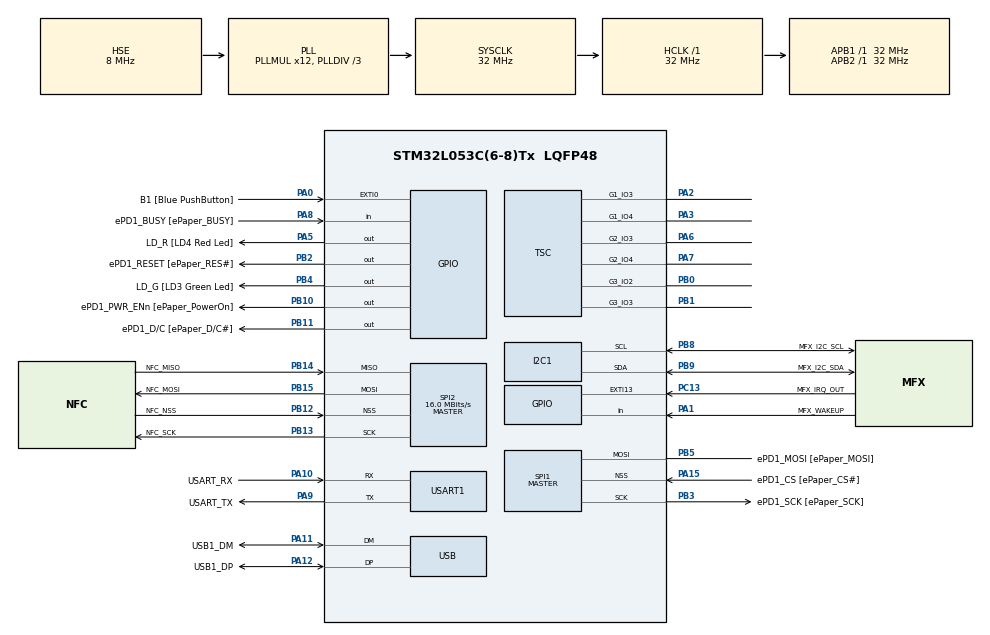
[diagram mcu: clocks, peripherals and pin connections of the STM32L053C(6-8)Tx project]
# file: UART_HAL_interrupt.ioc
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Mcu.Family=STM32L0
Mcu.Name=STM32L053C(6-8)Tx
Mcu.Package=LQFP48
NVIC.USART1_IRQn=true\:0\:0\:false\:false\:true\:true\:true\:true
PA0.GPIO_Label=B1 [Blue PushButton]
PA0.GPIO_ModeDefaultEXTI=GPIO_MODE_EVT_RISING
PA0.GPIO_PuPd=GPIO_NOPULL
PA0.Signal=GPXTI0
PA1.GPIO_Label=MFX_WAKEUP
PA1.Signal=GPIO_Input
PA10.GPIO_Label=USART_RX
PA10.Mode=Asynchronous
PA10.Signal=USART1_RX
PA11.GPIO_Label=USB1_DM
PA11.Mode=Device
PA11.Signal=USB_DM
PA12.GPIO_Label=USB1_DP
PA12.Mode=Device
PA12.Signal=USB_DP
PA13.GPIO_Label=SWDIO
PA13.Mode=Serial_Wire
PA13.Signal=SYS_SWDIO
PA14.GPIO_Label=SWCLK
PA14.Mode=Serial_Wire
PA14.Signal=SYS_SWCLK
PA15.GPIO_Label=ePD1_CS [ePaper_CS\#]
PA15.GPIO_Mode=GPIO_MODE_AF_PP
PA15.GPIO_PuPd=GPIO_NOPULL
PA15.GPIO_Speed=GPIO_SPEED_FREQ_LOW
PA15.Mode=NSS_Signal_Hard_Input
PA15.Signal=SPI1_NSS
PA2.Mode=G1_IO3-Channel
PA2.Signal=TSC_G1_IO3
PA3.Mode=G1_IO4-Sampling
PA3.Signal=TSC_G1_IO4
PA5.GPIO_Label=LD_R [LD4 Red Led]
PA5.GPIO_ModeDefaultOutputPP=GPIO_MODE_OUTPUT_PP
PA5.GPIO_PuPd=GPIO_NOPULL
PA5.GPIO_Speed=GPIO_SPEED_FREQ_LOW
PA5.Signal=GPIO_Output
PA6.Mode=G2_IO3-Channel
PA6.Signal=TSC_G2_IO3
PA7.Mode=G2_IO4-Sampling
PA7.Signal=TSC_G2_IO4
PA8.GPIO_Label=ePD1_BUSY [ePaper_BUSY]
PA8.GPIO_Mode=GPIO_MODE_INPUT
PA8.GPIO_PuPd=GPIO_NOPULL
PA8.Signal=GPIO_Input
PA9.GPIO_Label=USART_TX
PA9.Mode=Asynchronous
PA9.Signal=USART1_TX
PB0.Mode=G3_IO2-Channel
PB0.Signal=TSC_G3_IO2
PB1.Mode=G3_IO3-Sampling
PB1.Signal=TSC_G3_IO3
PB10.GPIO_Label=ePD1_PWR_ENn [ePaper_PowerOn]
PB10.GPIO_ModeDefaultOutputPP=GPIO_MODE_OUTPUT_PP
PB10.GPIO_PuPd=GPIO_NOPULL
PB10.GPIO_Speed=GPIO_SPEED_FREQ_LOW
PB10.Signal=GPIO_Output
PB11.GPIO_Label=ePD1_D/C [ePaper_D/C\#]
PB11.GPIO_ModeDefaultOutputPP=GPIO_MODE_OUTPUT_PP
PB11.GPIO_PuPd=GPIO_NOPULL
PB11.GPIO_Speed=GPIO_SPEED_FREQ_LOW
PB11.Signal=GPIO_Output
PB12.GPIO_Label=NFC_NSS
PB12.Mode=NSS_Signal_Hard_Input
PB12.Signal=SPI2_NSS
PB13.GPIO_Label=NFC_SCK
PB13.Mode=Full_Duplex_Master
PB13.Signal=SPI2_SCK
PB14.GPIO_Label=NFC_MISO
PB14.Mode=Full_Duplex_Master
PB14.Signal=SPI2_MISO
PB15.GPIO_Label=NFC_MOSI
PB15.Mode=Full_Duplex_Master
PB15.Signal=SPI2_MOSI
PB2.GPIO_Label=ePD1_RESET [ePaper_RES\#]
PB2.GPIO_ModeDefaultOutputPP=GPIO_MODE_OUTPUT_PP
PB2.GPIO_PuPd=GPIO_NOPULL
PB2.GPIO_Speed=GPIO_SPEED_FREQ_LOW
PB2.Signal=GPIO_Output
PB3.GPIO_Label=ePD1_SCK [ePaper_SCK]
PB3.GPIO_Mode=GPIO_MODE_AF_PP
PB3.GPIO_PuPd=GPIO_NOPULL
PB3.GPIO_Speed=GPIO_SPEED_FREQ_LOW
PB3.Mode=Simplex_Bidirectional_Master
PB3.Signal=SPI1_SCK
PB4.GPIO_Label=LD_G [LD3 Green Led]
PB4.GPIO_ModeDefaultOutputPP=GPIO_MODE_OUTPUT_PP
PB4.GPIO_PuPd=GPIO_NOPULL
PB4.GPIO_Speed=GPIO_SPEED_FREQ_LOW
PB4.Signal=GPIO_Output
PB5.GPIO_Label=ePD1_MOSI [ePaper_MOSI]
PB5.GPIO_Mode=GPIO_MODE_AF_PP
PB5.GPIO_PuPd=GPIO_NOPULL
PB5.GPIO_Speed=GPIO_SPEED_FREQ_LOW
PB5.Mode=Simplex_Bidirectional_Master
PB5.Signal=SPI1_MOSI
PB8.GPIO_Label=MFX_I2C_SCL
PB8.GPIO_Pu=GPIO_PULLUP
PB8.Mode=I2C
PB8.Signal=I2C1_SCL
PB9.GPIO_Label=MFX_I2C_SDA
PB9.GPIO_Pu=GPIO_PULLUP
PB9.Mode=I2C
PB9.Signal=I2C1_SDA
PC13.GPIO_Label=MFX_IRQ_OUT
PC13.Signal=GPXTI13
PC14-OSC32_IN.GPIO_Label=PC14-OSC32_IN
PC14-OSC32_IN.Signal=RCC_OSC32_IN
PC15-OSC32_OUT.GPIO_Label=PC15-OSC32_OUT
PC15-OSC32_OUT.Signal=RCC_OSC32_OUT
PH0-OSC_IN.GPIO_Label=MCO
PH0-OSC_IN.Mode=HSE-External-Clock-Source
PH0-OSC_IN.Signal=RCC_OSC_IN
ProjectManager.HeapSize=0x200
ProjectManager.StackSize=0x400
ProjectManager.TargetToolchain=STM32CubeIDE
RCC.AHBFreq_Value=32000000
RCC.APB1Freq_Value=32000000
RCC.APB1TimFreq_Value=32000000
RCC.APB2Freq_Value=32000000
RCC.APB2TimFreq_Value=32000000
RCC.HCLKFreq_Value=32000000
RCC.HSE_VALUE=8000000
RCC.HSI16_VALUE=16000000
RCC.HSI48MClockSelection=RCC_USBCLKSOURCE_HSI48
RCC.HSI48_VALUE=48000000
RCC.HSI_VALUE=16000000
RCC.LSE_VALUE=32768
RCC.MSI_VALUE=2097000
RCC.PLLDIV=RCC_PLLDIV_3
RCC.PLLMUL=RCC_PLLMUL_12
RCC.PLLSourceVirtual=RCC_PLLSOURCE_HSE
RCC.RTCClockSelectionVirtual=RCC_RTCCLKSOURCE_LSE
RCC.SYSCLKFreq_VALUE=32000000
RCC.SYSCLKSource=RCC_SYSCLKSOURCE_PLLCLK
RCC.VCOOutputFreq_Value=96000000
SPI1.CalculateBaudRate-Simplex_Bidirectional_Master=16.0 MBits/s
SPI1.Direction=SPI_DIRECTION_1LINE
SPI1.Direction-Simplex_Bidirectional_Master=SPI_DIRECTION_1LINE
SPI1.Mode=SPI_MODE_MASTER
SPI1.Mode-Simplex_Bidirectional_Master=SPI_MODE_MASTER
SPI1.NSS-Simplex_Bidirectional_Master=SPI_NSS_HARD_OUTPUT
SPI1.TIMode-Simplex_Bidirectional_Master=SPI_TIMODE_DISABLE
SPI1.VirtualNSS=VM_NSSHARD
SPI1.VirtualType=VM_MASTER
SPI2.CalculateBaudRate=16.0 MBits/s
SPI2.Direction=SPI_DIRECTION_2LINES
SPI2.Mode=SPI_MODE_MASTER
SPI2.VirtualNSS=VM_NSSHARD
SPI2.VirtualType=VM_MASTER
USART1.VirtualMode-Asynchronous=VM_ASYNC
board=STM32L0538-DISCO

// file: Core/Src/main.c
/* USER CODE BEGIN Header */
/**
 ******************************************************************************
 * @file           : main.c
 * @brief          : Main program body
 ******************************************************************************
 * @attention
 *
 * Copyright (c) 2025 STMicroelectronics.
 * All rights reserved.
 *
 * This software is licensed under terms that can be found in the LICENSE file
 * in the root directory of this software component.
 * If no LICENSE file comes with this software, it is provided AS-IS.
 *
 ******************************************************************************
 */
/* USER CODE END Header */
#include "main.h"
#include "i2c.h"
#include "spi.h"
#include "tsc.h"
#include "usart.h"
#include "usb.h"
#include "gpio.h"

void SystemClock_Config(void);

/* USER CODE BEGIN 0 */
////////////      PA9 PA10 loopback test
uint8_t rx_data;
uint8_t tx_data[] = "Loopback OK\r\n";
uint8_t rx_buffer[20];
uint8_t rx_index = 0;

void HAL_UART_RxCpltCallback(UART_HandleTypeDef *huart)
{
	if(huart->Instance == USART1)
	{
		rx_buffer[rx_index++] = rx_data;
		if(rx_data == '\n')
		{
			HAL_UART_Transmit(&huart1, rx_buffer, rx_index, HAL_MAX_DELAY);
			rx_index = 0;
		}
		HAL_UART_Receive_IT(&huart1, &rx_data, 1);
	}
}
/* USER CODE END 0 */

int main(void)
{

	/* MCU Configuration--------------------------------------------------------*/

	/* Reset of all peripherals, Initializes the Flash interface and the Systick. */
	HAL_Init();

	/* Configure the system clock */
	SystemClock_Config();

	/* Initialize all configured peripherals */
	MX_GPIO_Init();
	MX_I2C1_Init();
	MX_SPI1_Init();
	MX_SPI2_Init();
	MX_TSC_Init();
	MX_USART1_UART_Init();
	MX_USB_PCD_Init();
	/* USER CODE BEGIN 2 */
	HAL_UART_Receive_IT(&huart1, &rx_data, 1);
	HAL_UART_Transmit(&huart1, tx_data, sizeof(tx_data)-1, HAL_MAX_DELAY);
	/* USER CODE END 2 */

	/* Infinite loop */
	while (1)
	{

		/* USER CODE BEGIN 3 */

		uint8_t c = 'A';
		HAL_UART_Transmit(&huart1, &c, 1, HAL_MAX_DELAY);
		HAL_Delay(500);
	}
	/* USER CODE END 3 */
}

void SystemClock_Config(void)
{
	RCC_OscInitTypeDef RCC_OscInitStruct = {0};
	RCC_ClkInitTypeDef RCC_ClkInitStruct = {0};
	RCC_PeriphCLKInitTypeDef PeriphClkInit = {0};

	/** Configure the main internal regulator output voltage
	 */
	__HAL_PWR_VOLTAGESCALING_CONFIG(PWR_REGULATOR_VOLTAGE_SCALE1);

	/** Initializes the RCC Oscillators according to the specified parameters
	 * in the RCC_OscInitTypeDef structure.
	 */
	RCC_OscInitStruct.OscillatorType = RCC_OSCILLATORTYPE_HSE|RCC_OSCILLATORTYPE_HSI48;
	RCC_OscInitStruct.HSEState = RCC_HSE_BYPASS;
	RCC_OscInitStruct.HSI48State = RCC_HSI48_ON;
	RCC_OscInitStruct.PLL.PLLState = RCC_PLL_ON;
	RCC_OscInitStruct.PLL.PLLSource = RCC_PLLSOURCE_HSE;
	RCC_OscInitStruct.PLL.PLLMUL = RCC_PLLMUL_12;
	RCC_OscInitStruct.PLL.PLLDIV = RCC_PLLDIV_3;
	if (HAL_RCC_OscConfig(&RCC_OscInitStruct) != HAL_OK)
	{
		Error_Handler();
	}

	/** Initializes the CPU, AHB and APB buses clocks
	 */
	RCC_ClkInitStruct.ClockType = RCC_CLOCKTYPE_HCLK|RCC_CLOCKTYPE_SYSCLK
			|RCC_CLOCKTYPE_PCLK1|RCC_CLOCKTYPE_PCLK2;
	RCC_ClkInitStruct.SYSCLKSource = RCC_SYSCLKSOURCE_PLLCLK;
	RCC_ClkInitStruct.AHBCLKDivider = RCC_SYSCLK_DIV1;
	RCC_ClkInitStruct.APB1CLKDivider = RCC_HCLK_DIV1;
	RCC_ClkInitStruct.APB2CLKDivider = RCC_HCLK_DIV1;

	if (HAL_RCC_ClockConfig(&RCC_ClkInitStruct, FLASH_LATENCY_1) != HAL_OK)
	{
		Error_Handler();
	}
	PeriphClkInit.PeriphClockSelection = RCC_PERIPHCLK_USART1|RCC_PERIPHCLK_I2C1
			|RCC_PERIPHCLK_USB;
	PeriphClkInit.Usart1ClockSelection = RCC_USART1CLKSOURCE_PCLK2;
	PeriphClkInit.I2c1ClockSelection = RCC_I2C1CLKSOURCE_PCLK1;
	PeriphClkInit.UsbClockSelection = RCC_USBCLKSOURCE_HSI48;
	if (HAL_RCCEx_PeriphCLKConfig(&PeriphClkInit) != HAL_OK)
	{
		Error_Handler();
	}
}

void Error_Handler(void)
{
	__disable_irq();
	while (1)
	{
	}
}
